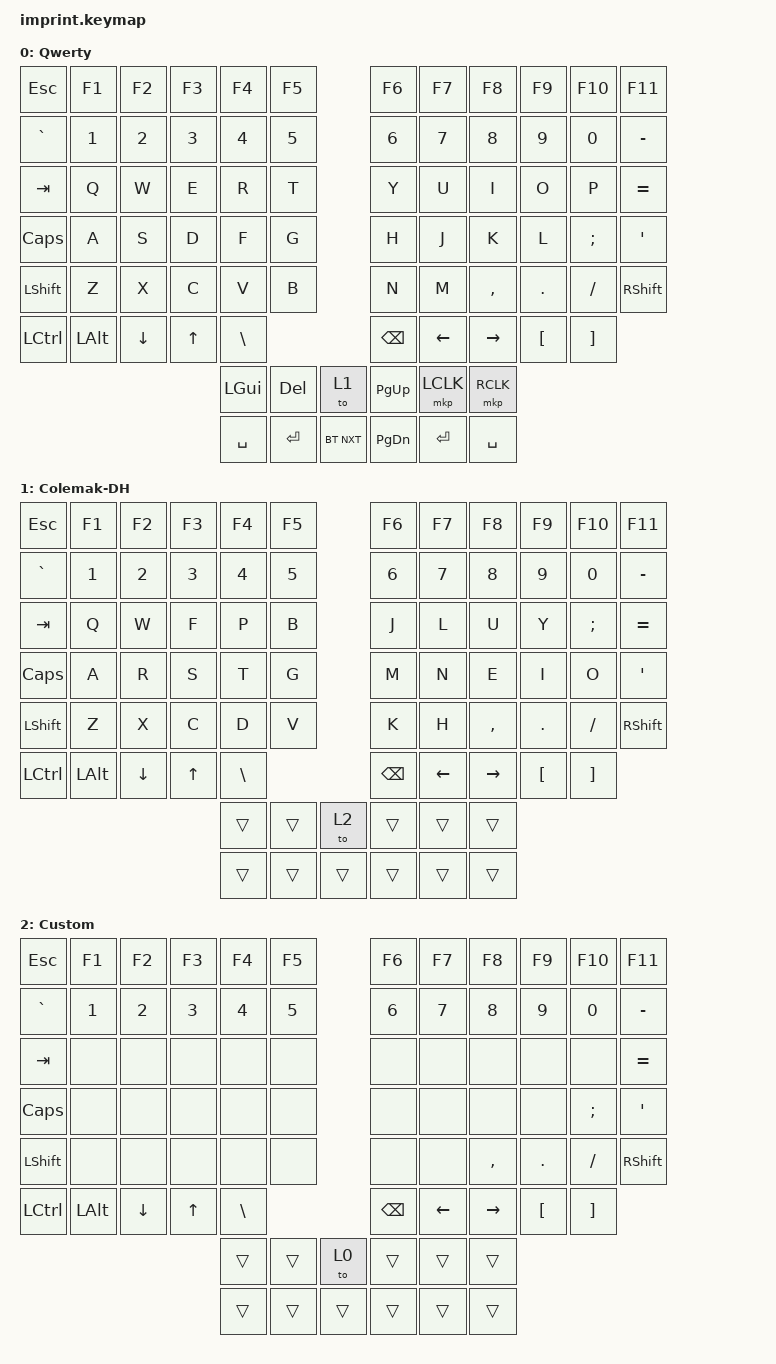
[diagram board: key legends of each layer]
#include <input/processors.dtsi>
#include <dt-bindings/zmk/input_transform.h>
#include <behaviors.dtsi>
#include <dt-bindings/zmk/bt.h>
#include <dt-bindings/zmk/keys.h>
#include <dt-bindings/zmk/pointing.h>

/ {
    chosen { zmk,physical-layout = &physical_layout_imprint_function_row_full_bottom_row; };

    keymap {
        compatible = "zmk,keymap";

        qwerty {
            label = "Qwerty";
            bindings = <
&kp ESC    &kp F1  &kp F2    &kp F3    &kp F4    &kp F5              &kp F6     &kp F7    &kp F8     &kp F9    &kp F10   &kp F11
&kp GRAVE  &kp N1  &kp N2    &kp N3    &kp N4    &kp N5              &kp N6     &kp N7    &kp N8     &kp N9    &kp N0    &kp MINUS
&kp TAB    &kp Q   &kp W     &kp E     &kp R     &kp T               &kp Y      &kp U     &kp I      &kp O     &kp P     &kp EQUAL
&kp CAPS   &kp A   &kp S     &kp D     &kp F     &kp G               &kp H      &kp J     &kp K      &kp L     &kp SEMI  &kp SQT
&kp LSHFT  &kp Z   &kp X     &kp C     &kp V     &kp B               &kp N      &kp M     &kp COMMA  &kp DOT   &kp FSLH  &kp RSHFT
&kp LCTRL  &kp LALT  &kp DOWN  &kp UP  &kp BSLH                      &kp BSPC   &kp LEFT  &kp RIGHT  &kp LBKT  &kp RBKT
                                       &kp LGUI  &kp DEL  &to 1     &kp PG_UP  &mkp LCLK  &mkp RCLK
                                       &kp SPACE &kp RET  &bt BT_NXT  &kp PG_DN  &kp RET  &kp SPACE
            >;
        };

        colemak_dh {
            label = "Colemak-DH";
            bindings = <
&kp ESC    &kp F1  &kp F2    &kp F3    &kp F4    &kp F5              &kp F6     &kp F7    &kp F8     &kp F9    &kp F10   &kp F11
&kp GRAVE  &kp N1  &kp N2    &kp N3    &kp N4    &kp N5              &kp N6     &kp N7    &kp N8     &kp N9    &kp N0    &kp MINUS
&kp TAB    &kp Q   &kp W     &kp F     &kp P     &kp B               &kp J      &kp L     &kp U      &kp Y     &kp SEMI  &kp EQUAL
&kp CAPS   &kp A   &kp R     &kp S     &kp T     &kp G               &kp M      &kp N     &kp E      &kp I     &kp O     &kp SQT
&kp LSHFT  &kp Z   &kp X     &kp C     &kp D     &kp V               &kp K      &kp H     &kp COMMA  &kp DOT   &kp FSLH  &kp RSHFT
&kp LCTRL  &kp LALT  &kp DOWN  &kp UP  &kp BSLH                      &kp BSPC   &kp LEFT  &kp RIGHT  &kp LBKT  &kp RBKT
                                       &trans  &trans  &to 2      &trans  &trans  &trans
                                       &trans  &trans  &trans     &trans  &trans  &trans
            >;
        };

        custom {
            label = "Custom";
            bindings = <
&kp ESC    &kp F1  &kp F2  &kp F3  &kp F4  &kp F5              &kp F6  &kp F7  &kp F8  &kp F9  &kp F10  &kp F11
&kp GRAVE  &kp N1  &kp N2  &kp N3  &kp N4  &kp N5              &kp N6  &kp N7  &kp N8  &kp N9  &kp N0   &kp MINUS
&kp TAB    &none   &none   &none   &none   &none               &none   &none   &none   &none   &none    &kp EQUAL
&kp CAPS   &none   &none   &none   &none   &none               &none   &none   &none   &none   &kp SEMI &kp SQT
&kp LSHFT  &none   &none   &none   &none   &none               &none   &none   &kp COMMA  &kp DOT  &kp FSLH  &kp RSHFT
&kp LCTRL  &kp LALT  &kp DOWN  &kp UP  &kp BSLH                &kp BSPC   &kp LEFT  &kp RIGHT  &kp LBKT  &kp RBKT
                                  &trans  &trans  &to 0      &trans  &trans  &trans
                                  &trans  &trans  &trans     &trans  &trans  &trans
            >;
        };
    };
};

// Keep left-trackball scrolling, at half the previous sensitivity (1/6 -> 1/12).
&trackball_central_listener {
    input-processors =
        <&zip_xy_scaler 1 12>,
        <&zip_xy_to_scroll_mapper>,
        <&zip_scroll_transform INPUT_TRANSFORM_Y_INVERT>;
};
